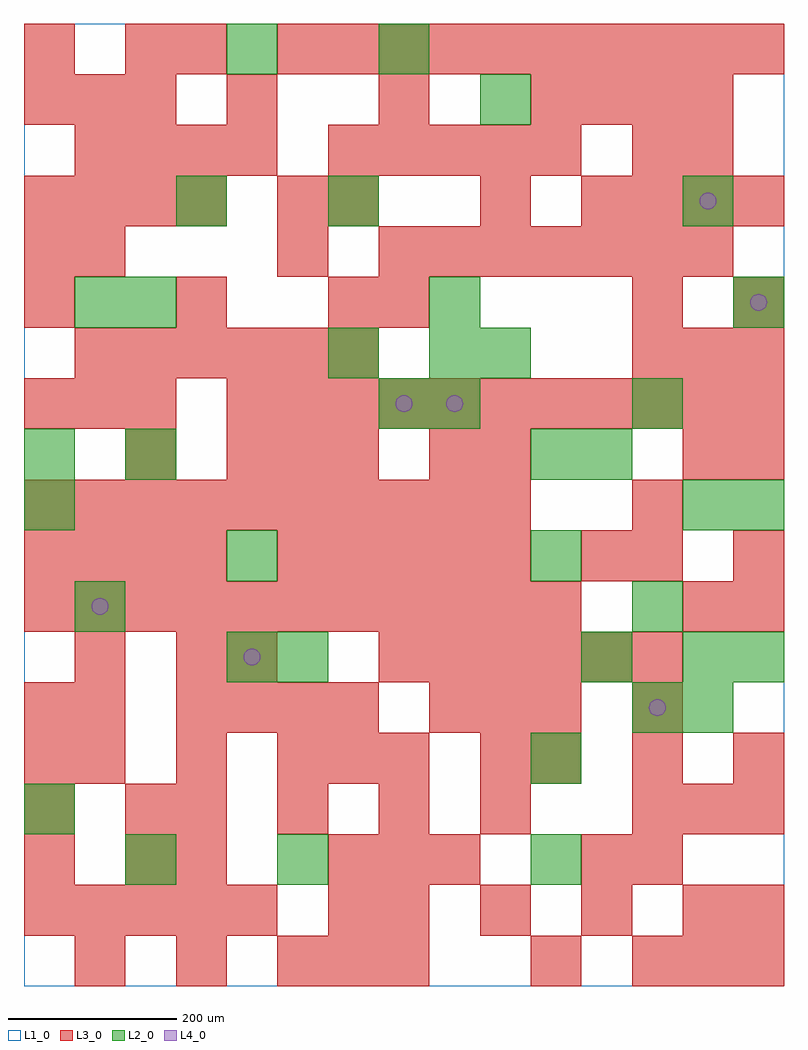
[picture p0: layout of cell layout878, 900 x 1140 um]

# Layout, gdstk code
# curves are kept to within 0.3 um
import gdstk
lib = gdstk.Library(unit=1e-6, precision=1e-09)
def R(c, l, rs):  # rectangles x0, y0, x1, y1
    for r in rs: c.add(gdstk.rectangle(r[:2], r[2:], *l))
def A(c, l, x, y, w, h, nx, ny, dx, dy):  # array of equal rectangles
    R(c, l, [(x+i*dx, y+j*dy, x+i*dx+w, y+j*dy+h) for i in range(nx) for j in range(ny)])
def P(c, l, *ps):  # polygons
    for p in ps: c.add(gdstk.Polygon(p, *l))
L1_0 = (1, 0)
L2_0 = (2, 0)
L3_0 = (3, 0)
L4_0 = (4, 0)

layout878 = lib.new_cell('layout878')
R(layout878, L1_0, [(0,0,900,1140)])
A(layout878, L2_0, 120, 780, 60, 60, 3, 1, 360, 0)
R(layout878, L2_0, [(120,120,180,180), (300,120,360,180), (600,120,660,180), (0,180,60,240), (600,240,660,300), (720,300,780,360), (780,300,840,360), (240,360,300,420), (300,360,360,420), (660,360,720,420), (780,360,840,420), (840,360,900,420), (60,420,120,480), (720,420,780,480), (240,480,300,540), (600,480,660,540), (0,540,60,600), (780,540,840,600), (840,540,900,600), (0,600,60,660), (120,600,180,660), (600,600,660,660), (660,600,720,660), (420,660,480,720), (480,660,540,720), (720,660,780,720), (360,720,420,780), (480,720,540,780), (540,720,600,780), (60,780,120,840), (180,900,240,960), (360,900,420,960), (780,900,840,960), (540,1020,600,1080), (240,1080,300,1140), (420,1080,480,1140)])
A(layout878, L3_0, 60, 0, 60, 60, 3, 2, 120, 240)
A(layout878, L3_0, 720, 0, 60, 60, 3, 2, 60, 180)
A(layout878, L3_0, 0, 60, 60, 60, 5, 1, 60, 0)
A(layout878, L3_0, 420, 60, 60, 60, 4, 1, 120, 0)
A(layout878, L3_0, 0, 120, 60, 60, 1, 4, 0, 60)
A(layout878, L3_0, 360, 120, 60, 60, 3, 1, 60, 0)
A(layout878, L3_0, 720, 120, 60, 60, 1, 3, 0, 180)
A(layout878, L3_0, 180, 180, 60, 60, 4, 1, 120, 0)
A(layout878, L3_0, 600, 240, 60, 60, 3, 1, 120, 0)
A(layout878, L3_0, 180, 300, 60, 60, 4, 1, 60, 0)
A(layout878, L3_0, 480, 300, 60, 60, 3, 1, 60, 0)
A(layout878, L3_0, 420, 360, 60, 60, 6, 1, 60, 0)
A(layout878, L3_0, 0, 420, 60, 60, 11, 1, 60, 0)
A(layout878, L3_0, 0, 480, 60, 60, 4, 2, 60, 420)
A(layout878, L3_0, 300, 480, 60, 60, 5, 1, 60, 0)
A(layout878, L3_0, 0, 540, 60, 60, 10, 1, 60, 0)
A(layout878, L3_0, 240, 600, 60, 60, 3, 1, 60, 0)
A(layout878, L3_0, 0, 660, 60, 60, 3, 2, 60, 360)
A(layout878, L3_0, 240, 660, 60, 60, 11, 1, 60, 0)
A(layout878, L3_0, 60, 720, 60, 60, 6, 1, 60, 0)
A(layout878, L3_0, 720, 720, 60, 60, 3, 1, 60, 0)
A(layout878, L3_0, 0, 780, 60, 60, 3, 1, 180, 0)
A(layout878, L3_0, 420, 840, 60, 60, 7, 1, 60, 0)
A(layout878, L3_0, 660, 900, 60, 60, 4, 1, 60, 0)
A(layout878, L3_0, 60, 960, 60, 60, 4, 1, 60, 0)
A(layout878, L3_0, 360, 960, 60, 60, 5, 1, 60, 0)
A(layout878, L3_0, 240, 1020, 60, 60, 3, 1, 180, 0)
A(layout878, L3_0, 660, 1020, 60, 60, 3, 1, 60, 0)
A(layout878, L3_0, 300, 1080, 60, 60, 10, 1, 60, 0)
R(layout878, L3_0, [(360,0,420,60), (420,0,480,60), (600,0,660,60), (360,60,420,120), (840,60,900,120), (120,120,180,180), (180,120,240,180), (660,120,720,180), (120,180,180,240), (360,240,420,300), (420,240,480,300), (540,240,600,300), (60,300,120,360), (60,360,120,420), (180,360,240,420), (240,360,300,420), (780,420,840,480), (840,420,900,480), (660,480,720,540), (840,480,900,540), (720,540,780,600), (120,600,180,660), (480,600,540,660), (540,600,600,660), (780,600,840,660), (840,600,900,660), (420,780,480,840), (720,780,780,840), (840,780,900,840), (0,840,60,900), (60,840,120,900), (300,840,360,900), (300,900,360,960), (360,900,420,960), (540,900,600,960), (720,960,780,1020), (780,960,840,1020), (0,1080,60,1140), (120,1080,180,1140), (180,1080,240,1140)])
P(layout878, L4_0, [(100,450),(99.239,453.827),(97.071,457.071),(93.827,459.239),(90,460),(86.173,459.239),(82.929,457.071),(80.761,453.827),(80,450),(80.761,446.173),(82.929,442.929),(86.173,440.761),(90,440),(93.827,440.761),(97.071,442.929),(99.239,446.173)],
  [(280,390),(279.239,393.827),(277.071,397.071),(273.827,399.239),(270,400),(266.173,399.239),(262.929,397.071),(260.761,393.827),(260,390),(260.761,386.173),(262.929,382.929),(266.173,380.761),(270,380),(273.827,380.761),(277.071,382.929),(279.239,386.173)],
  [(460,690),(459.239,693.827),(457.071,697.071),(453.827,699.239),(450,700),(446.173,699.239),(442.929,697.071),(440.761,693.827),(440,690),(440.761,686.173),(442.929,682.929),(446.173,680.761),(450,680),(453.827,680.761),(457.071,682.929),(459.239,686.173)],
  [(520,690),(519.239,693.827),(517.071,697.071),(513.827,699.239),(510,700),(506.173,699.239),(502.929,697.071),(500.761,693.827),(500,690),(500.761,686.173),(502.929,682.929),(506.173,680.761),(510,680),(513.827,680.761),(517.071,682.929),(519.239,686.173)],
  [(760,330),(759.239,333.827),(757.071,337.071),(753.827,339.239),(750,340),(746.173,339.239),(742.929,337.071),(740.761,333.827),(740,330),(740.761,326.173),(742.929,322.929),(746.173,320.761),(750,320),(753.827,320.761),(757.071,322.929),(759.239,326.173)],
  [(820,930),(819.239,933.827),(817.071,937.071),(813.827,939.239),(810,940),(806.173,939.239),(802.929,937.071),(800.761,933.827),(800,930),(800.761,926.173),(802.929,922.929),(806.173,920.761),(810,920),(813.827,920.761),(817.071,922.929),(819.239,926.173)],
  [(880,810),(879.239,813.827),(877.071,817.071),(873.827,819.239),(870,820),(866.173,819.239),(862.929,817.071),(860.761,813.827),(860,810),(860.761,806.173),(862.929,802.929),(866.173,800.761),(870,800),(873.827,800.761),(877.071,802.929),(879.239,806.173)])

lib.write_gds('layout878.gds')
